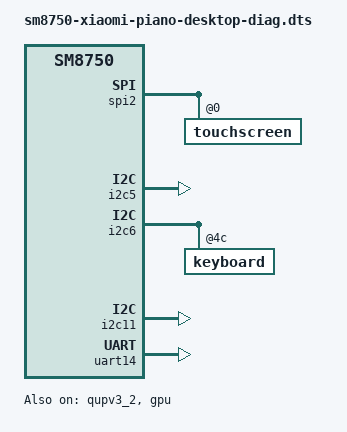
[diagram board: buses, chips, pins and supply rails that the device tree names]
// SPDX-License-Identifier: BSD-3-Clause
/*
 * Combined bounded RAM desktop development candidate. Reuse the capture
 * graph and board wiring already tested by the individual diagnostics.
 * Input, Bluetooth, GPU, ADSP/audio registration and read-only gauges are
 * enabled together; this does not establish their concurrent operation.
 * PCIe/WLAN supplies, USB host/DP, charging and UFS writes are not enabled.
 */

#include "sm8750-xiaomi-piano-mic-diag.dts"

&gpi_dma1 {
	status = "okay";
};

&gpi_dma2 {
	status = "okay";
};

&spi2 {
	status = "okay";

	touchscreen@0 {
		status = "okay";
	};
};

&i2c5 {
	status = "okay";
};

&i2c6 {
	status = "okay";

	keyboard@4c {
		status = "okay";
	};
};

&i2c11 {
	status = "okay";
};

&vreg_l11b_1p8 {
	regulator-initial-mode = <RPMH_REGULATOR_MODE_HPM>;
};

&vreg_l14b_3p3 {
	regulator-initial-mode = <RPMH_REGULATOR_MODE_HPM>;
};

&qupv3_2 {
	status = "okay";
};

&uart14 {
	status = "okay";
};

&wcn7860_pmu {
	status = "okay";
};

&gpu {
	status = "okay";
};
